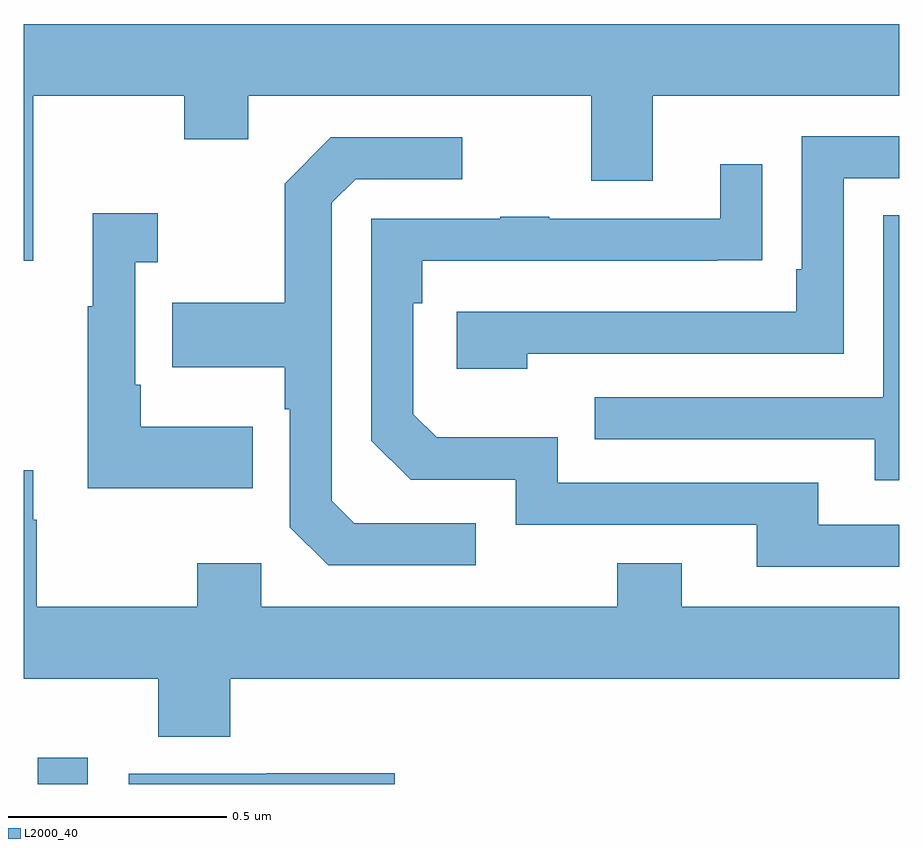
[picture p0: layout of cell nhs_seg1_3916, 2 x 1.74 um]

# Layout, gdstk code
import gdstk
lib = gdstk.Library(unit=1e-6, precision=1e-09)
def R(c, l, rs):  # rectangles x0, y0, x1, y1
    for r in rs: c.add(gdstk.rectangle(r[:2], r[2:], *l))
def P(c, l, *ps):  # polygons
    for p in ps: c.add(gdstk.Polygon(p, *l))
L2000_40 = (2000, 40)

nhs_seg1_3916 = lib.new_cell('nhs_seg1_3916')
R(nhs_seg1_3916, L2000_40, [(160.031,510.199,160.146,510.259)])
P(nhs_seg1_3916, L2000_40, [(160.021,511.772),(160.366,511.772),(160.366,511.673),(160.513,511.673),(160.513,511.772),(161.297,511.772),(161.297,511.578),(161.437,511.578),(161.437,511.772),(162,511.772),(162,511.936),(160,511.936),(160,511.395),(160.021,511.395)],
  [(161.15,511.182),(161.874,511.182),(161.874,511.584),(162,511.584),(162,511.68),(161.778,511.68),(161.778,511.375),(161.765,511.375),(161.765,511.278),(160.989,511.278),(160.989,511.148),(161.15,511.148)],
  [(161.032,510.795),(160.755,510.795),(160.704,510.846),(160.704,511.527),(160.758,511.581),(161.002,511.581),(161.002,511.677),(160.701,511.677),(160.596,511.571),(160.596,511.299),(160.339,511.299),(160.339,511.151),(160.596,511.151),(160.596,511.055),(160.608,511.055),(160.608,510.786),(160.695,510.699),(161.032,510.699)],
  [(162,510.792),(161.815,510.792),(161.815,510.888),(161.22,510.888),(161.22,510.991),(160.943,510.991),(160.89,511.044),(160.89,511.298),(160.91,511.298),(160.91,511.395),(161.585,511.395),(161.585,511.396),(161.687,511.396),(161.687,511.615),(161.591,511.615),(161.591,511.491),(161.201,511.491),(161.201,511.496),(161.089,511.496),(161.089,511.491),(160.794,511.491),(160.794,510.984),(160.884,510.894),(161.124,510.894),(161.124,510.792),(161.675,510.792),(161.675,510.696),(162,510.696)],
  [(160.523,511.015),(160.267,511.015),(160.267,511.111),(160.254,511.111),(160.254,511.391),(160.306,511.391),(160.306,511.504),(160.157,511.504),(160.157,511.291),(160.146,511.291),(160.146,510.875),(160.523,510.875)],
  [(162,511.499),(161.964,511.499),(161.964,511.083),(161.305,511.083),(161.305,510.987),(161.945,510.987),(161.945,510.893),(162,510.893)],
  [(160.472,510.44),(162,510.44),(162,510.604),(161.503,510.604),(161.503,510.703),(161.356,510.703),(161.356,510.604),(160.542,510.604),(160.542,510.703),(160.396,510.703),(160.396,510.604),(160.029,510.604),(160.029,510.803),(160.021,510.803),(160.021,510.916),(160,510.916),(160,510.44),(160.307,510.44),(160.307,510.307),(160.472,510.307)],
  [(160.847,510.224),(160.555,510.224),(160.555,510.222),(160.239,510.222),(160.239,510.199),(160.847,510.199)])

lib.write_gds('nhs_seg1_3916.gds')
